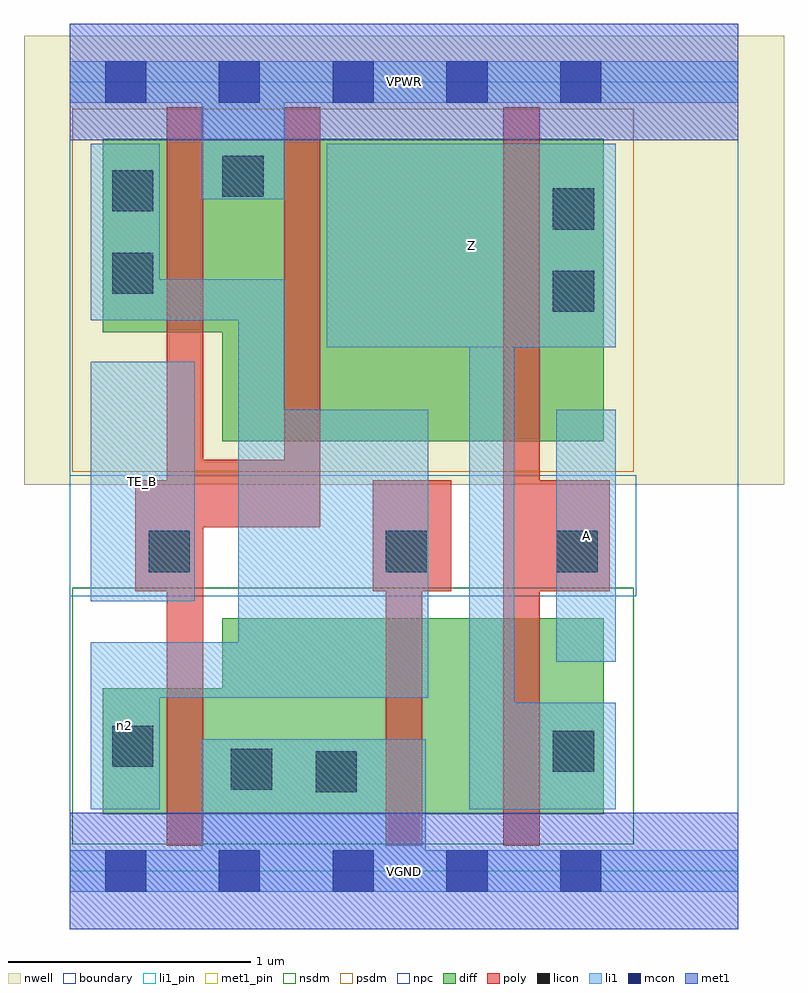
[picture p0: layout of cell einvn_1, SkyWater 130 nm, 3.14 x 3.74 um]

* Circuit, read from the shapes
.subckt einvn_1 A TE_B VGND VPWR Z n2
XM1 VGND TE_B n2 VSUBS sky130_fd_pr__nfet_01v8 w=0.52 l=0.15
XM2 n1 n2 VGND VSUBS sky130_fd_pr__nfet_01v8 w=0.81 l=0.15
XM3 Z A n1 VSUBS sky130_fd_pr__nfet_01v8 w=0.81 l=0.15
XM4 VPWR TE_B n2 n3 sky130_fd_pr__pfet_01v8 w=0.8 l=0.15
XM5 n4 TE_B VPWR n3 sky130_fd_pr__pfet_01v8 w=1.25 l=0.15
XM6 Z A n4 n3 sky130_fd_pr__pfet_01v8 w=1.25 l=0.15
.ends

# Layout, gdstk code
import gdstk
lib = gdstk.Library(unit=1e-6, precision=1e-09)
def R(c, l, rs):  # rectangles x0, y0, x1, y1
    for r in rs: c.add(gdstk.rectangle(r[:2], r[2:], *l))
def A(c, l, x, y, w, h, nx, ny, dx, dy):  # array of equal rectangles
    R(c, l, [(x+i*dx, y+j*dy, x+i*dx+w, y+j*dy+h) for i in range(nx) for j in range(ny)])
nwell = (64, 20)
diff = (65, 20)
poly = (66, 20)
licon = (66, 44)
li1_pin = (67, 16)
li1 = (67, 20)
mcon = (67, 44)
met1_pin = (68, 16)
met1 = (68, 20)
nsdm = (93, 44)
psdm = (94, 20)
npc = (95, 20)
boundary = (235, 4)

einvn_1 = lib.new_cell('einvn_1')
R(einvn_1, nwell, [(-0.19,1.595,2.95,3.45), (0,1.595,2.76,3.45)])
R(einvn_1, diff, [(0.135,0.235,2.205,0.755), (0.63,0.235,2.205,1.045), (0.63,1.775,2.205,3.025), (0.135,2.225,2.205,3.025)])
R(einvn_1, poly, [(0.4,0.105,0.55,3.155), (1.305,0.105,1.455,1.615), (1.79,0.105,1.94,3.155), (0.27,1.155,0.55,1.615), (1.25,1.155,1.575,1.615), (1.79,1.155,2.23,1.615), (0.4,1.42,1.035,1.7), (0.885,1.42,1.035,3.155)])
R(einvn_1, licon, [(1.015,0.325,1.185,0.495), (0.665,0.335,0.835,0.505), (1.995,0.41,2.165,0.58), (0.175,0.43,0.345,0.6), (0.325,1.235,0.495,1.405), (1.305,1.235,1.475,1.405), (2.01,1.235,2.18,1.405), (1.995,2.31,2.165,2.48), (0.175,2.385,0.345,2.555), (1.995,2.65,2.165,2.82), (0.175,2.725,0.345,2.895), (0.63,2.785,0.8,2.955)])
R(einvn_1, li1_pin, [(2.01,0.865,2.255,1.905), (0.085,1.115,0.515,2.105), (1.06,2.165,2.255,3.005)])
R(einvn_1, li1, [(0,-0.085,2.76,0.085), (0.545,-0.085,1.47,0.545), (0.085,0.255,0.37,0.945), (1.65,0.255,1.835,3.005), (1.65,0.255,2.255,0.695), (0.085,0.715,1.48,0.945), (0.695,0.715,1.48,1.905), (0.695,0.715,0.885,2.445), (2.01,0.865,2.255,1.905), (0.085,1.115,0.515,2.105), (1.06,2.165,2.255,3.005), (0.085,2.275,0.37,3.005), (0.085,2.275,0.885,2.445), (0.545,2.775,0.885,3.345), (0,3.175,2.76,3.345)])
A(einvn_1, mcon, 0.145, -0.085, 0.17, 0.17, 5, 2, 0.47, 3.26)
R(einvn_1, met1_pin, [(0,-0.24,2.76,0.24), (0,3.02,2.76,3.5)])
R(einvn_1, met1, [(0,-0.24,2.76,0.24), (0,3.02,2.76,3.5)])
R(einvn_1, nsdm, [(0.01,0.11,2.33,1.17)])
R(einvn_1, psdm, [(0.01,1.65,2.33,3.15)])
R(einvn_1, npc, [(0,1.135,2.34,1.635)])
R(einvn_1, boundary, [(0,0,2.76,3.26)])
einvn_1.add(gdstk.Label('A', (2.132,1.385), layer=67, texttype=5))
einvn_1.add(gdstk.Label('TE_B', (0.3,1.61), layer=67, texttype=5))
einvn_1.add(gdstk.Label('Z', (1.657,2.585), layer=67, texttype=5))
einvn_1.add(gdstk.Label('n2', (0.227,0.6), layer=67, texttype=5))
einvn_1.add(gdstk.Label('VPWR', (1.38,3.26), layer=68, texttype=5))
einvn_1.add(gdstk.Label('VGND', (1.38,0), layer=68, texttype=5))
einvn_1.add(gdstk.Label('A', (2.132,1.385), layer=67, texttype=16))
einvn_1.add(gdstk.Label('TE_B', (0.3,1.61), layer=67, texttype=16))
einvn_1.add(gdstk.Label('Z', (1.657,2.585), layer=67, texttype=16))
einvn_1.add(gdstk.Label('VPWR', (1.38,3.26), layer=68, texttype=16))
einvn_1.add(gdstk.Label('VGND', (1.38,0), layer=68, texttype=16))

lib.write_gds('einvn_1.gds')
